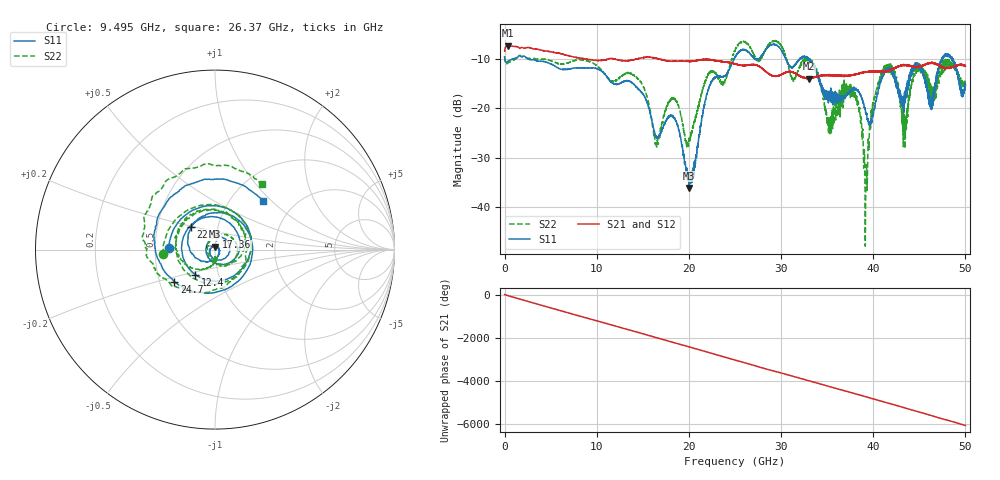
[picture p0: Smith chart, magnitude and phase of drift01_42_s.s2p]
!Created with skrf (http://scikit-rf.org).
# Hz S RI R 50.0
!freq ReS11 ImS11 ReS21 ImS21 ReS12 ImS12 ReS22 ImS22
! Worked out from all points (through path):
!   10001 points, 300 kHz to 50 GHz, reference 50 ohm
!   highest |S21| = -7.33 dB at 325.3 MHz (marker M1); lowest = -14.0 dB at 32.99 GHz (marker M2)
!   group delay of S21, straight-line fit = 335 ps
!   lowest |S11| = -36.1 dB at 20.01 GHz (marker M3), VSWR 1.03, Z = 49.9 + j1.57 ohm
!   |S11| at or under -10 dB: 2.567 GHz to 24.9 GHz (22.34 GHz wide, 163 % of centre); 30.51 GHz to 32.01 GHz (1.507 GHz wide, 4.82 % of centre); 33.05 GHz to 47.45 GHz (14.4 GHz wide, 35.8 % of centre) (the widest 3 of 23)
!   |S22| runs from -47.9 to -6.2 dB; largest |S21 - S12| = 0.0088
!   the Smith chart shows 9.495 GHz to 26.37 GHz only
!   S11 on the Smith chart (normalised r, x): 9.495 GHz: 0.59, +0.01; 12.4 GHz: 0.77, -0.22; 17.36 GHz: 1.00, +0.14; 22.4 GHz: 0.74, +0.19; 24.7 GHz: 0.60, -0.23; 26.37 GHz: 1.41, +0.88
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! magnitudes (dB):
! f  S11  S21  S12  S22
! 300 kHz  -9.6  -8.4  -8.5  -9.5
! 325.3 MHz  -10.5  -7.3  -7.3  -10.9
! 8.335 GHz  -11.8  -9.9  -9.9  -10.2
! 9.495 GHz  -11.8  -10.2  -10.2  -10.8
! 12.4 GHz  -15.0  -10.2  -10.2  -13.9
! 16.67 GHz  -26.0  -10.0  -10.0  -27.1
! 17.36 GHz  -23.2  -10.2  -10.3  -21.1
! 20.01 GHz  -36.1  -10.5  -10.5  -26.5
! 22.4 GHz  -14.7  -10.2  -10.1  -12.5
! 24.7 GHz  -10.8  -10.8  -10.8  -9.8
! 25 GHz  -9.6  -11.0  -11.0  -8.3
! 26.37 GHz  -8.4  -11.2  -11.2  -7.0
! 32.99 GHz  -9.8  -14.0  -13.9  -9.9
! 33.34 GHz  -10.8  -13.8  -13.8  -10.5
! 35.23 GHz  -17.4  -13.3  -13.3  -22.6
! 37.99 GHz  -16.0  -13.2  -13.2  -17.2
! 39.17 GHz  -20.6  -12.6  -12.7  -41.5
! 40.16 GHz  -19.9  -12.5  -12.5  -17.5
! 41.67 GHz  -12.1  -12.4  -12.4  -11.8
! 43.46 GHz  -18.9  -11.2  -11.3  -24.7
! 44.83 GHz  -11.6  -11.6  -11.5  -12.4
! 50 GHz  -15.3  -11.4  -11.4  -14.9
